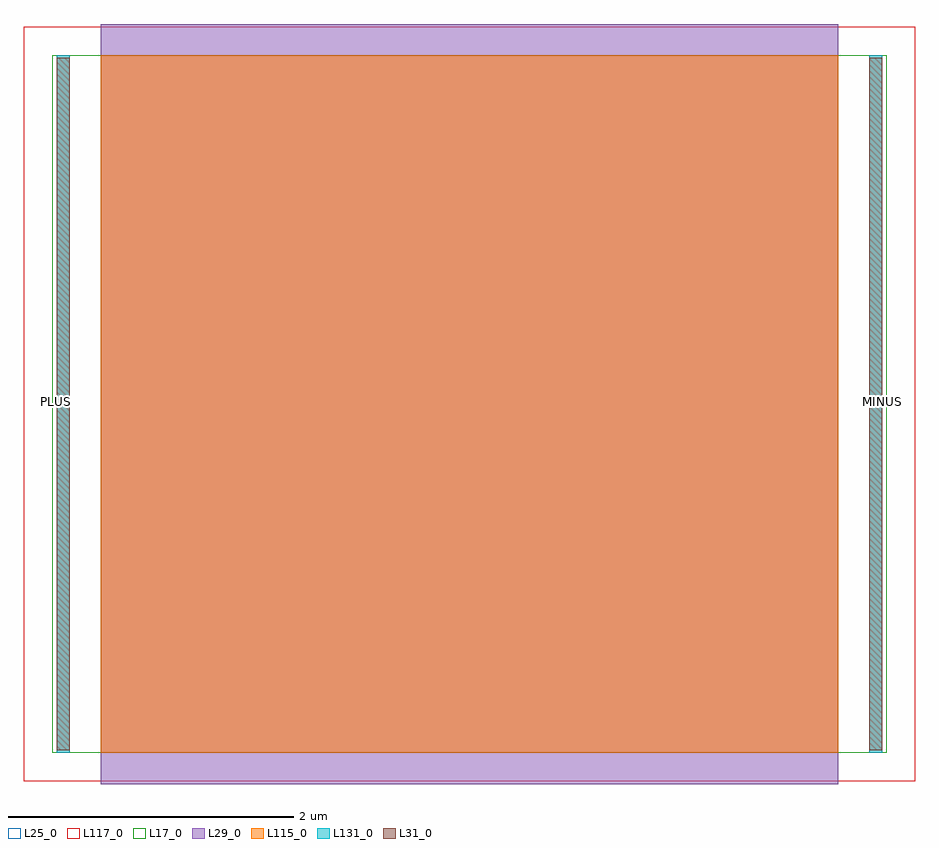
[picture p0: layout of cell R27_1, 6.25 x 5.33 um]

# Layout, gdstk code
import gdstk
lib = gdstk.Library(unit=1e-6, precision=1e-09)
def R(c, l, rs):  # rectangles x0, y0, x1, y1
    for r in rs: c.add(gdstk.rectangle(r[:2], r[2:], *l))
L17_0 = (17, 0)
L25_0 = (25, 0)
L29_0 = (29, 0)
L31_0 = (31, 0)
L115_0 = (115, 0)
L117_0 = (117, 0)
L131_0 = (131, 0)

r27_1 = lib.new_cell('R27_1')
R(r27_1, L17_0, [(0.2,0.22,6.05,5.11)])
R(r27_1, L25_0, [(0,0.02,6.25,5.31)])
R(r27_1, L29_0, [(0.54,0,5.71,5.33)])
R(r27_1, L31_0, [(0.23,0.235,0.32,5.095), (5.93,0.235,6.02,5.095)])
R(r27_1, L115_0, [(0.54,0.22,5.71,5.11)])
R(r27_1, L117_0, [(0,0.02,6.25,5.31)])
R(r27_1, L131_0, [(0.23,0.22,0.32,5.11), (5.93,0.22,6.02,5.11)])
r27_1.add(gdstk.Label('PLUS', (0.23,2.68), layer=131, texttype=0))
r27_1.add(gdstk.Label('MINUS', (6.02,2.68), layer=131, texttype=0))

lib.write_gds('R27_1.gds')
